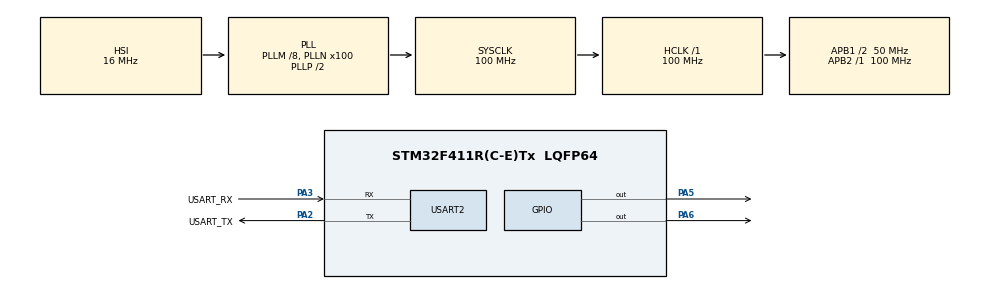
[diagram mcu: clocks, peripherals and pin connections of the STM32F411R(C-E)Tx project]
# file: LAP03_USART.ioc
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Mcu.Family=STM32F4
Mcu.Name=STM32F411R(C-E)Tx
Mcu.Package=LQFP64
NVIC.PriorityGroup=NVIC_PRIORITYGROUP_0
PA2.GPIO_Label=USART_TX
PA2.Mode=Asynchronous
PA2.Signal=USART2_TX
PA3.GPIO_Label=USART_RX
PA3.Mode=Asynchronous
PA3.Signal=USART2_RX
PA5.Signal=GPIO_Output
PA6.Signal=GPIO_Output
ProjectManager.HeapSize=0x200
ProjectManager.StackSize=0x400
ProjectManager.TargetToolchain=MDK-ARM V5.27
RCC.48MHZClocksFreq_Value=50000000
RCC.AHBFreq_Value=100000000
RCC.APB1CLKDivider=RCC_HCLK_DIV2
RCC.APB1Freq_Value=50000000
RCC.APB1TimFreq_Value=100000000
RCC.APB2Freq_Value=100000000
RCC.APB2TimFreq_Value=100000000
RCC.CortexFreq_Value=100000000
RCC.FLatency-AdvancedSettings=FLASH_LATENCY_3
RCC.HCLKFreq_Value=100000000
RCC.HSE_VALUE=8000000
RCC.HSI_VALUE=16000000
RCC.LSE_VALUE=32768
RCC.PLLM=8
RCC.PLLN=100
RCC.SYSCLKFreq_VALUE=100000000
RCC.SYSCLKSource=RCC_SYSCLKSOURCE_PLLCLK
RCC.VCOOutputFreq_Value=200000000
USART2.VirtualMode=VM_ASYNC
board=NUCLEO-F411RE

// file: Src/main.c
/* USER CODE BEGIN Header */
/**
  ******************************************************************************
  * @file           : main.c
  * @brief          : Main program body
  ******************************************************************************
  * @attention
  *
  * <h2><center>&copy; Copyright (c) 2019 STMicroelectronics.
  * All rights reserved.</center></h2>
  *
  * This software component is licensed by ST under BSD 3-Clause license,
  * the "License"; You may not use this file except in compliance with the
  * License. You may obtain a copy of the License at:
  *                        opensource.org/licenses/BSD-3-Clause
  *
  ******************************************************************************
  */
/* USER CODE END Header */

#include "main.h"
#include "usart.h"
#include "gpio.h"

/* USER CODE BEGIN Includes */
#include "string.h"
#include "stdbool.h"
/* USER CODE END Includes */

void SystemClock_Config(void);
/* USER CODE BEGIN PFP */
int Send_Tx_data(char str[]);
int Read_Rx_data();
/* USER CODE END PFP */

int main(void)
{

  /* MCU Configuration--------------------------------------------------------*/

  /* Reset of all peripherals, Initializes the Flash interface and the Systick. */
  HAL_Init();

  /* Configure the system clock */
  SystemClock_Config();

  /* Initialize all configured peripherals */
  MX_GPIO_Init();
  MX_USART2_UART_Init();
  /* USER CODE BEGIN 2 */
	char str[]="\n\r Input => ";
	char data = 'A';
	bool status = true;

	// init
	Send_Tx_data("\n\r For blink LEDs, please type r(for red LED) or g(for green LED)");
	Send_Tx_data("\n\r For display group members, please type m");
	Send_Tx_data("\n\r For Quit program type q");
  /* USER CODE END 2 */

  /* Infinite loop */
  while (1)
  {

    /* USER CODE BEGIN 3 */
		while(status)
		{
			Send_Tx_data("\n\r\t Input => ");
			data = Read_Rx_data();
			Send_Tx_data(&data);

			if(data == 'r') 		// Red
			{
				//Send_Tx_data("\n\r\t\t Blink Red LED");
				for(int i=0; i<3; i++)
				{
					HAL_GPIO_WritePin(GPIOA, GPIO_PIN_5, GPIO_PIN_RESET);
					HAL_Delay(250);
					HAL_GPIO_WritePin(GPIOA, GPIO_PIN_5, GPIO_PIN_SET);
					HAL_Delay(250);
				}
				HAL_GPIO_WritePin(GPIOA, GPIO_PIN_5, GPIO_PIN_RESET);
			}
			else if(data == 'g')		// Green
			{
				//Send_Tx_data("\n\r\t\t Blink Green LED");
				for(int i=0; i<3; i++)
				{
					HAL_GPIO_WritePin(GPIOA, GPIO_PIN_6, GPIO_PIN_RESET);
					HAL_Delay(250);
					HAL_GPIO_WritePin(GPIOA, GPIO_PIN_6, GPIO_PIN_SET);
					HAL_Delay(250);
				}
				HAL_GPIO_WritePin(GPIOA, GPIO_PIN_6, GPIO_PIN_RESET);
			}
			else if(data == 'm')
			{
				Send_Tx_data("\n\r\t\t 6040202998\n\r\t\t Mr.Phongsakorn Suttama\n\r\t\t 6040200634\n\r\t\t Ms.Jaruporn Tadsee\n\r");
			}
			else if(data == 'q')
			{
				Send_Tx_data("\n\r\t\t QUIT\n\r");
				status = false;
			}
			else {
				Send_Tx_data("\n\r\t\t Unknown Method");
			}
		}
  }
  /* USER CODE END 3 */
}

void SystemClock_Config(void)
{
  RCC_OscInitTypeDef RCC_OscInitStruct = {0};
  RCC_ClkInitTypeDef RCC_ClkInitStruct = {0};

  /** Configure the main internal regulator output voltage
  */
  __HAL_RCC_PWR_CLK_ENABLE();
  __HAL_PWR_VOLTAGESCALING_CONFIG(PWR_REGULATOR_VOLTAGE_SCALE1);
  /** Initializes the CPU, AHB and APB busses clocks
  */
  RCC_OscInitStruct.OscillatorType = RCC_OSCILLATORTYPE_HSI;
  RCC_OscInitStruct.HSIState = RCC_HSI_ON;
  RCC_OscInitStruct.HSICalibrationValue = RCC_HSICALIBRATION_DEFAULT;
  RCC_OscInitStruct.PLL.PLLState = RCC_PLL_ON;
  RCC_OscInitStruct.PLL.PLLSource = RCC_PLLSOURCE_HSI;
  RCC_OscInitStruct.PLL.PLLM = 8;
  RCC_OscInitStruct.PLL.PLLN = 100;
  RCC_OscInitStruct.PLL.PLLP = RCC_PLLP_DIV2;
  RCC_OscInitStruct.PLL.PLLQ = 4;
  if (HAL_RCC_OscConfig(&RCC_OscInitStruct) != HAL_OK)
  {
    Error_Handler();
  }
  /** Initializes the CPU, AHB and APB busses clocks
  */
  RCC_ClkInitStruct.ClockType = RCC_CLOCKTYPE_HCLK|RCC_CLOCKTYPE_SYSCLK
                              |RCC_CLOCKTYPE_PCLK1|RCC_CLOCKTYPE_PCLK2;
  RCC_ClkInitStruct.SYSCLKSource = RCC_SYSCLKSOURCE_PLLCLK;
  RCC_ClkInitStruct.AHBCLKDivider = RCC_SYSCLK_DIV1;
  RCC_ClkInitStruct.APB1CLKDivider = RCC_HCLK_DIV2;
  RCC_ClkInitStruct.APB2CLKDivider = RCC_HCLK_DIV1;

  if (HAL_RCC_ClockConfig(&RCC_ClkInitStruct, FLASH_LATENCY_3) != HAL_OK)
  {
    Error_Handler();
  }
}

/* USER CODE BEGIN 4 */
int Send_Tx_data(char str[])
{
	while(__HAL_UART_GET_FLAG(&huart2, UART_FLAG_TC) == RESET){}
	HAL_UART_Transmit(&huart2, (uint8_t*)str, strlen(str),1000);
	HAL_Delay(300);
}

int Read_Rx_data()
{
	char ch1 = 'A';
	while(__HAL_UART_GET_FLAG(&huart2, UART_FLAG_RXNE) == RESET){}
	HAL_UART_Receive(&huart2, (uint8_t*) &ch1, 1, 1000);

	return ch1;
}
/* USER CODE END 4 */

void Error_Handler(void)
{
}

/************************ (C) COPYRIGHT STMicroelectronics *****END OF FILE****/
